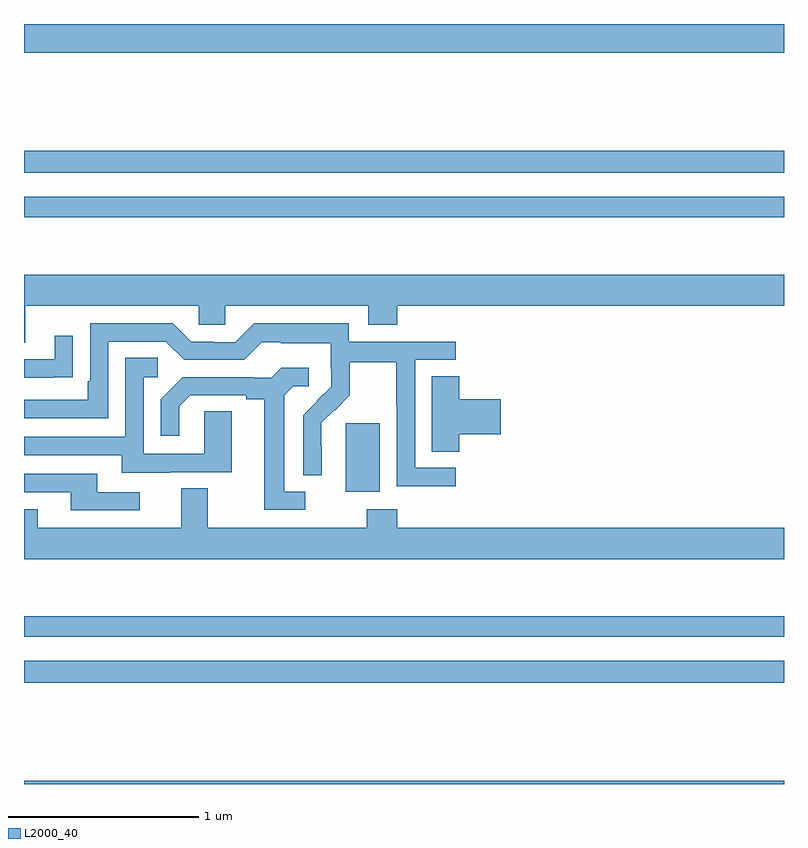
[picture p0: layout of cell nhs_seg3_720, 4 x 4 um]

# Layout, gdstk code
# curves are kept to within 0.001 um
import gdstk
lib = gdstk.Library(unit=1e-6, precision=1e-09)
def R(c, l, rs):  # rectangles x0, y0, x1, y1
    for r in rs: c.add(gdstk.rectangle(r[:2], r[2:], *l))
def P(c, l, *ps):  # polygons
    for p in ps: c.add(gdstk.Polygon(p, *l))
L2000_40 = (2000, 40)

nhs_seg3_720 = lib.new_cell('nhs_seg3_720')
R(nhs_seg3_720, L2000_40, [(147,698.4,151,698.416), (147,698.932,151,699.048), (147,699.174,151,699.283), (148.694,699.938,148.873,700.299), (147,701.382,151,701.49), (147,701.616,151,701.732), (147,702.248,151,702.4)])
P(nhs_seg3_720, L2000_40, [(147.007,700.916),(147.921,700.916),(147.921,700.818),(148.059,700.818),(148.059,700.916),(148.811,700.916),(148.811,700.817),(148.964,700.817),(148.964,700.916),(151,700.916),(151,701.08),(147,701.08),(147,700.722),(147.007,700.722)],
  [(149.272,700.065),(149.058,700.065),(149.058,700.632),(149.272,700.632),(149.272,700.728),(148.71,700.728),(148.71,700.825),(148.213,700.825),(148.113,700.725),(147.998,700.725),(147.998,700.728),(147.879,700.728),(147.783,700.824),(147.348,700.824),(147.348,700.519),(147.335,700.519),(147.335,700.422),(147,700.422),(147,700.326),(147.444,700.326),(147.444,700.728),(147.747,700.728),(147.843,700.632),(148.158,700.632),(148.251,700.725),(148.351,700.725),(148.351,700.721),(148.614,700.721),(148.614,700.587),(148.616,700.587),(148.616,700.49),(148.47,700.342),(148.47,700.024),(148.566,700.024),(148.565,700.301),(148.635,700.371),(148.638,700.368),(148.715,700.445),(148.715,700.62),(148.96,700.62),(148.96,700.396),(148.962,700.396),(148.962,699.967),(149.272,699.967)],
  [(147.155,700.54),(147.257,700.54),(147.257,700.759),(147.161,700.759),(147.161,700.635),(147,700.635),(147,700.539),(147.155,700.539)],
  [(147.769,700.041),(148.093,700.041),(148.093,700.361),(147.948,700.361),(147.948,700.137),(147.63,700.137),(147.63,700.542),(147.703,700.542),(147.703,700.643),(147.534,700.643),(147.534,700.227),(147,700.227),(147,700.131),(147.515,700.131),(147.515,700.037),(147.769,700.037)],
  [(148.48,699.939),(148.369,699.939),(148.369,700.447),(148.416,700.494),(148.498,700.494),(148.498,700.591),(148.354,700.591),(148.302,700.539),(148.208,700.539),(148.208,700.542),(147.836,700.542),(147.72,700.426),(147.72,700.233),(147.817,700.233),(147.817,700.389),(147.874,700.446),(148.169,700.446),(148.169,700.424),(148.265,700.424),(148.265,699.843),(148.48,699.843)],
  [(149.291,700.241),(149.509,700.241),(149.509,700.424),(149.291,700.424),(149.291,700.547),(149.147,700.547),(149.147,700.15),(149.291,700.15)],
  [(147.61,699.936),(147.385,699.936),(147.385,700.032),(147,700.032),(147,699.936),(147.245,699.936),(147.245,699.84),(147.61,699.84)],
  [(151,699.748),(148.964,699.748),(148.964,699.847),(148.804,699.847),(148.804,699.748),(147.967,699.748),(147.967,699.956),(147.827,699.956),(147.827,699.748),(147.073,699.748),(147.073,699.847),(147,699.847),(147,699.584),(151,699.584)])

lib.write_gds('nhs_seg3_720.gds')
